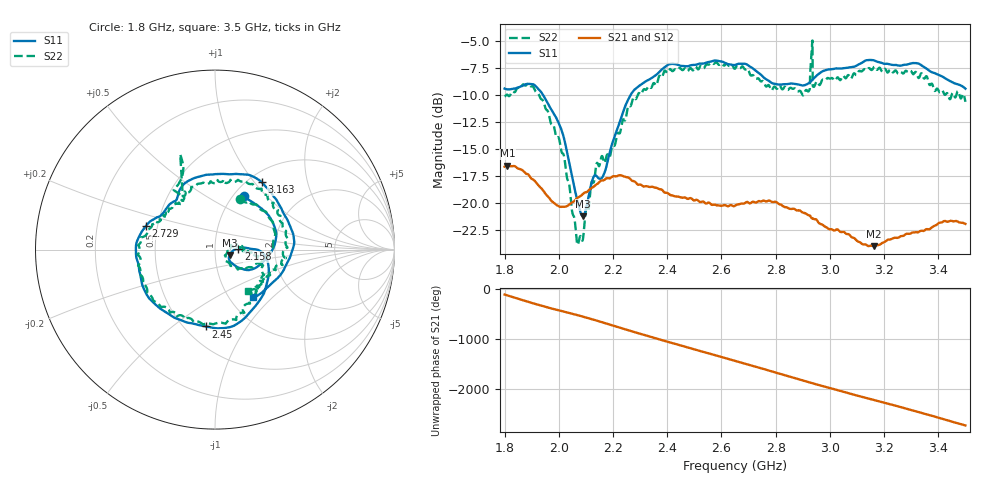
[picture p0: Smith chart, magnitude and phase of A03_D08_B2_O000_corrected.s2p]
! Created with skrf 1.9.0 (http://scikit-rf.org).
# Hz S RI R 50.0
!freq ReS11 ImS11 ReS21 ImS21 ReS12 ImS12 ReS22 ImS22
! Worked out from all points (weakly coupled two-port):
!   1601 points, 1.8 GHz to 3.5 GHz, reference 50 ohm
!   highest |S21| = -16.56 dB at 1.811 GHz (marker M1); lowest = -24.0 dB at 3.162 GHz (marker M2)
!   lowest |S11| = -21.3 dB at 2.09 GHz (marker M3), VSWR 1.19, Z = 58.7 - j3.59 ohm
!   |S11| at or under -10 dB: 1.942 GHz to 2.265 GHz (323.1 MHz wide, 15.4 % of centre)
!   |S22| runs from -23.9 to -5.0 dB; largest |S21 - S12| = 0.0031
!   S11 on the Smith chart (normalised r, x): 1.8 GHz: 1.12, +0.75; 2.158 GHz: 1.30, +0.01; 2.45 GHz: 0.63, -0.67; 2.729 GHz: 0.43, +0.13; 3.163 GHz: 1.15, +1.09; 3.5 GHz: 1.27, -0.76
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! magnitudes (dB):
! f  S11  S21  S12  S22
! 1.8 GHz  -9.4  -16.7  -16.7  -10.1
! 1.811 GHz  -9.5  -16.6  -16.6  -10.0
! 1.887 GHz  -9.0  -17.4  -17.4  -9.0
! 1.941 GHz  -10.0  -18.8  -18.8  -10.5
! 2.011 GHz  -13.4  -20.4  -20.4  -15.4
! 2.066 GHz  -19.5  -19.6  -19.6  -23.4
! 2.084 GHz  -21.1  -19.3  -19.3  -23.3
! 2.09 GHz  -21.3  -19.2  -19.2  -23.2
! 2.127 GHz  -17.7  -18.5  -18.5  -18.1
! 2.158 GHz  -17.7  -17.9  -17.9  -15.7
! 2.261 GHz  -10.2  -17.7  -17.8  -11.0
! 2.367 GHz  -8.0  -18.7  -18.7  -8.5
! 2.45 GHz  -7.3  -19.5  -19.5  -7.6
! 2.65 GHz  -7.2  -20.3  -20.3  -7.6
! 2.729 GHz  -7.8  -20.0  -20.0  -8.5
! 2.901 GHz  -9.1  -20.9  -21.0  -10.0
! 2.934 GHz  -8.7  -21.4  -21.4  -5.5
! 2.945 GHz  -8.4  -21.5  -21.6  -9.1
! 3.162 GHz  -6.8  -24.0  -24.0  -7.4
! 3.163 GHz  -6.8  -24.0  -24.0  -7.4
! 3.217 GHz  -7.1  -23.4  -23.4  -7.8
! 3.5 GHz  -9.4  -22.0  -22.0  -10.6
